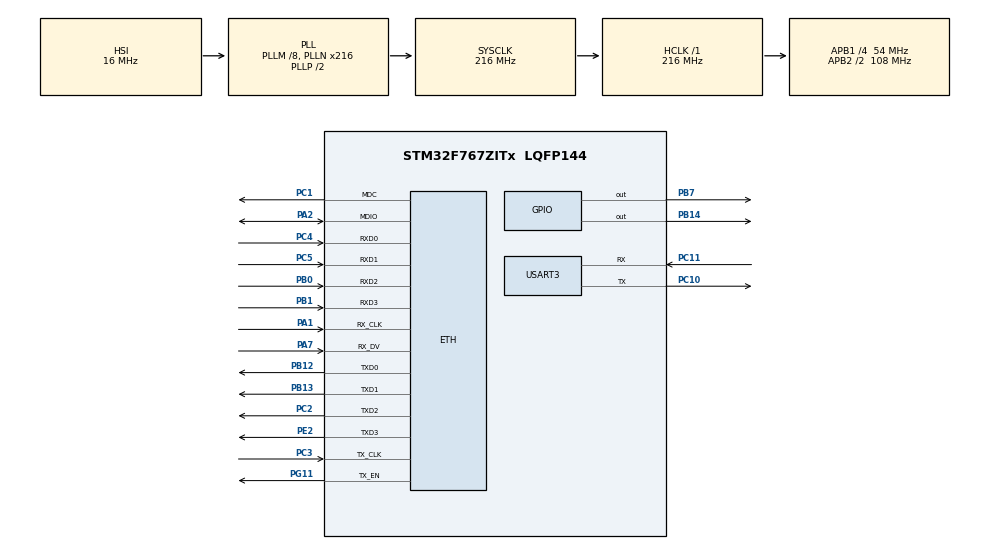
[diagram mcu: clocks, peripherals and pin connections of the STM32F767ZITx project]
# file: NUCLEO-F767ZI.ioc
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CORTEX_M7.default_mode_Activation=1
ETH.MediaInterface=HAL_ETH_MII_MODE
LWIP.GATEWAY_ADDRESS=192.168.001.001
LWIP.IP_ADDRESS=192.168.002.250
LWIP.LWIP_DHCP=0
LWIP.NETMASK_ADDRESS=255.255.255.000
LWIP.Version=v2.1.2_Cube
Mcu.Family=STM32F7
Mcu.Name=STM32F767ZITx
Mcu.Package=LQFP144
NVIC.PriorityGroup=NVIC_PRIORITYGROUP_4
PA1.Mode=MII Full Duplex Only
PA1.Signal=ETH_RX_CLK
PA2.Mode=MII Full Duplex Only
PA2.Signal=ETH_MDIO
PA7.Mode=MII Full Duplex Only
PA7.Signal=ETH_RX_DV
PB0.Mode=MII Full Duplex Only
PB0.Signal=ETH_RXD2
PB1.Mode=MII Full Duplex Only
PB1.Signal=ETH_RXD3
PB12.Mode=MII Full Duplex Only
PB12.Signal=ETH_TXD0
PB13.Mode=MII Full Duplex Only
PB13.Signal=ETH_TXD1
PB14.Signal=GPIO_Output
PB7.Signal=GPIO_Output
PC1.Mode=MII Full Duplex Only
PC1.Signal=ETH_MDC
PC10.Mode=Asynchronous
PC10.Signal=USART3_TX
PC11.Mode=Asynchronous
PC11.Signal=USART3_RX
PC2.Mode=MII Full Duplex Only
PC2.Signal=ETH_TXD2
PC3.Mode=MII Full Duplex Only
PC3.Signal=ETH_TX_CLK
PC4.Mode=MII Full Duplex Only
PC4.Signal=ETH_RXD0
PC5.Mode=MII Full Duplex Only
PC5.Signal=ETH_RXD1
PE2.Mode=MII Full Duplex Only
PE2.Signal=ETH_TXD3
PG11.Mode=MII Full Duplex Only
PG11.Signal=ETH_TX_EN
ProjectManager.HeapSize=0x200
ProjectManager.StackSize=0x400
ProjectManager.TargetToolchain=STM32CubeIDE
RCC.AHBFreq_Value=216000000
RCC.APB1CLKDivider=RCC_HCLK_DIV4
RCC.APB1Freq_Value=54000000
RCC.APB1TimFreq_Value=108000000
RCC.APB2CLKDivider=RCC_HCLK_DIV2
RCC.APB2Freq_Value=108000000
RCC.APB2TimFreq_Value=216000000
RCC.CortexFreq_Value=216000000
RCC.HCLKFreq_Value=216000000
RCC.HSE_VALUE=25000000
RCC.HSI_VALUE=16000000
RCC.LSE_VALUE=32768
RCC.PLLM=8
RCC.PLLN=216
RCC.SYSCLKFreq_VALUE=216000000
RCC.SYSCLKSource=RCC_SYSCLKSOURCE_PLLCLK
RCC.USBFreq_Value=216000000
RCC.VCOOutputFreq_Value=432000000
USART3.VirtualMode-Asynchronous=VM_ASYNC
VP_LWIP_VS_Enabled.Mode=Enabled
board=custom

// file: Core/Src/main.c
/* USER CODE BEGIN Header */
/**
  ******************************************************************************
  * @file           : main.c
  * @brief          : Main program body
  ******************************************************************************
  * @attention
  *
  * Copyright (c) 2025 STMicroelectronics.
  * All rights reserved.
  *
  * This software is licensed under terms that can be found in the LICENSE file
  * in the root directory of this software component.
  * If no LICENSE file comes with this software, it is provided AS-IS.
  *
  ******************************************************************************
  */
/* USER CODE END Header */
#include "main.h"
#include "lwip.h"
#include "usart.h"
#include "gpio.h"

/* USER CODE BEGIN Includes */
#include "lwip/udp.h"
#include "usart.h"
#include "gpio.h"
#include "retarget.h"
#include "stdio.h"
#include <stdint.h>
#include "Drum100sDigit28X567.h"
#include "AAU19_480X480.h"
/* USER CODE END Includes */

/* USER CODE BEGIN PTD */
extern UART_HandleTypeDef huart3;
extern const uint16_t Drum100sDigit28X57[Drum100s_IMAGE_WIDTH * Drum100s_IMAGE_HEIGHT];
extern const uint16_t AAU19_480X480[AAU19_IMAGE_WIDTH * AAU19_IMAGE_HEIGHT];

/* USER CODE END PTD */

void SystemClock_Config(void);
static void MPU_Config(void);

/* USER CODE BEGIN 0 */
void Error_Handler(void) {
    HAL_GPIO_TogglePin(GPIOB, GPIO_PIN_7); // Fast blink LD2
    while (1) {
        HAL_Delay(100);
    }
}
/* USER CODE END 0 */

int main(void)
{

  /* MPU Configuration--------------------------------------------------------*/
  MPU_Config();

  /* MCU Configuration--------------------------------------------------------*/

  /* Reset of all peripherals, Initializes the Flash interface and the Systick. */
  HAL_Init();

  /* Configure the system clock */
  SystemClock_Config();

  /* Initialize all configured peripherals */
  MX_GPIO_Init();
  MX_USART3_UART_Init();
  MX_LWIP_Init();
  UDP_Receive_Init();

  /* Infinite loop */
  /* USER CODE BEGIN WHILE */
  while (1)
  {
	  printf("Hello, UART!\r\n");
	     HAL_GPIO_TogglePin(GPIOB, GPIO_PIN_14); // LD3 (blue)
	     HAL_GPIO_TogglePin(GPIOB, GPIO_PIN_7);  // LD2 (green)
	     HAL_Delay(1000);

    /* USER CODE END WHILE */

  }
}

static struct udp_pcb *udp_pcb_rx;

static void udp_receive_callback(void *arg, struct udp_pcb *pcb, struct pbuf *p,
                                 const ip_addr_t *addr, u16_t port)
{
  if (p != NULL) {
    printf("UDP packet from %s:%d\r\n", ipaddr_ntoa(addr), port);
    printf("Payload: %.*s\r\n", p->len, (char *)p->payload);
    pbuf_free(p);
  }
}

void UDP_Receive_Init(void)
{
  udp_pcb_rx = udp_new();
  if (udp_pcb_rx == NULL) {
    printf("Failed to create UDP PCB\r\n");
    return;
  }

  err_t err = udp_bind(udp_pcb_rx, IP_ADDR_ANY, 1234); // Use any port you like
  if (err != ERR_OK) {
    printf("UDP bind failed: %d\r\n", err);
    return;
  }

  udp_recv(udp_pcb_rx, udp_receive_callback, NULL);
  printf("UDP listener active on port 1234\r\n");
}

void SystemClock_Config(void)
{
  RCC_OscInitTypeDef RCC_OscInitStruct = {0};
  RCC_ClkInitTypeDef RCC_ClkInitStruct = {0};

  /** Configure the main internal regulator output voltage
  */
  __HAL_RCC_PWR_CLK_ENABLE();
  __HAL_PWR_VOLTAGESCALING_CONFIG(PWR_REGULATOR_VOLTAGE_SCALE1);

  /** Initializes the RCC Oscillators according to the specified parameters
  * in the RCC_OscInitTypeDef structure.
  */
  RCC_OscInitStruct.OscillatorType = RCC_OSCILLATORTYPE_HSI;
  RCC_OscInitStruct.HSIState = RCC_HSI_ON;
  RCC_OscInitStruct.HSICalibrationValue = RCC_HSICALIBRATION_DEFAULT;
  RCC_OscInitStruct.PLL.PLLState = RCC_PLL_ON;
  RCC_OscInitStruct.PLL.PLLSource = RCC_PLLSOURCE_HSI;
  RCC_OscInitStruct.PLL.PLLM = 8;
  RCC_OscInitStruct.PLL.PLLN = 216;
  RCC_OscInitStruct.PLL.PLLP = RCC_PLLP_DIV2;
  RCC_OscInitStruct.PLL.PLLQ = 2;
  RCC_OscInitStruct.PLL.PLLR = 2;
  if (HAL_RCC_OscConfig(&RCC_OscInitStruct) != HAL_OK)
  {
    Error_Handler();
  }

  /** Activate the Over-Drive mode
  */
  if (HAL_PWREx_EnableOverDrive() != HAL_OK)
  {
    Error_Handler();
  }

  /** Initializes the CPU, AHB and APB buses clocks
  */
  RCC_ClkInitStruct.ClockType = RCC_CLOCKTYPE_HCLK|RCC_CLOCKTYPE_SYSCLK
                              |RCC_CLOCKTYPE_PCLK1|RCC_CLOCKTYPE_PCLK2;
  RCC_ClkInitStruct.SYSCLKSource = RCC_SYSCLKSOURCE_PLLCLK;
  RCC_ClkInitStruct.AHBCLKDivider = RCC_SYSCLK_DIV1;
  RCC_ClkInitStruct.APB1CLKDivider = RCC_HCLK_DIV4;
  RCC_ClkInitStruct.APB2CLKDivider = RCC_HCLK_DIV2;

  if (HAL_RCC_ClockConfig(&RCC_ClkInitStruct, FLASH_LATENCY_7) != HAL_OK)
  {
    Error_Handler();
  }
}

 /* MPU Configuration */

void MPU_Config(void)
{
  MPU_Region_InitTypeDef MPU_InitStruct = {0};

  /* Disables the MPU */
  HAL_MPU_Disable();

  /** Initializes and configures the Region and the memory to be protected
  */
  MPU_InitStruct.Enable = MPU_REGION_ENABLE;
  MPU_InitStruct.Number = MPU_REGION_NUMBER0;
  MPU_InitStruct.BaseAddress = 0x0;
  MPU_InitStruct.Size = MPU_REGION_SIZE_4GB;
  MPU_InitStruct.SubRegionDisable = 0x87;
  MPU_InitStruct.TypeExtField = MPU_TEX_LEVEL0;
  MPU_InitStruct.AccessPermission = MPU_REGION_NO_ACCESS;
  MPU_InitStruct.DisableExec = MPU_INSTRUCTION_ACCESS_DISABLE;
  MPU_InitStruct.IsShareable = MPU_ACCESS_SHAREABLE;
  MPU_InitStruct.IsCacheable = MPU_ACCESS_NOT_CACHEABLE;
  MPU_InitStruct.IsBufferable = MPU_ACCESS_NOT_BUFFERABLE;

  HAL_MPU_ConfigRegion(&MPU_InitStruct);
  /* Enables the MPU */
  HAL_MPU_Enable(MPU_PRIVILEGED_DEFAULT);

}
